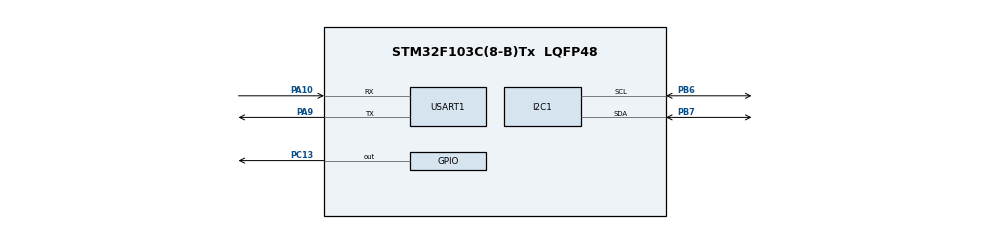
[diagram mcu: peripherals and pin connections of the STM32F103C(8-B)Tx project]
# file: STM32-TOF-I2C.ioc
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Dma.MEMTOMEM.0.Direction=DMA_MEMORY_TO_MEMORY
Dma.MEMTOMEM.0.Instance=DMA1_Channel1
Dma.MEMTOMEM.0.MemDataAlignment=DMA_MDATAALIGN_BYTE
Dma.MEMTOMEM.0.MemInc=DMA_MINC_ENABLE
Dma.MEMTOMEM.0.Mode=DMA_NORMAL
Dma.MEMTOMEM.0.PeriphDataAlignment=DMA_PDATAALIGN_BYTE
Dma.MEMTOMEM.0.PeriphInc=DMA_PINC_ENABLE
Dma.MEMTOMEM.0.Priority=DMA_PRIORITY_LOW
Dma.MEMTOMEM.1.Direction=DMA_MEMORY_TO_MEMORY
Dma.MEMTOMEM.1.Instance=DMA1_Channel2
Dma.MEMTOMEM.1.MemDataAlignment=DMA_MDATAALIGN_BYTE
Dma.MEMTOMEM.1.MemInc=DMA_MINC_ENABLE
Dma.MEMTOMEM.1.Mode=DMA_NORMAL
Dma.MEMTOMEM.1.PeriphDataAlignment=DMA_PDATAALIGN_BYTE
Dma.MEMTOMEM.1.PeriphInc=DMA_PINC_ENABLE
Dma.MEMTOMEM.1.Priority=DMA_PRIORITY_LOW
Dma.Request0=MEMTOMEM
Dma.Request1=MEMTOMEM
Mcu.Family=STM32F1
Mcu.Name=STM32F103C(8-B)Tx
Mcu.Package=LQFP48
NVIC.PriorityGroup=NVIC_PRIORITYGROUP_4
PA10.Mode=Asynchronous
PA10.Signal=USART1_RX
PA13.Mode=Serial_Wire
PA13.Signal=SYS_JTMS-SWDIO
PA14.Mode=Serial_Wire
PA14.Signal=SYS_JTCK-SWCLK
PA9.Mode=Asynchronous
PA9.Signal=USART1_TX
PB6.Mode=I2C
PB6.Signal=I2C1_SCL
PB7.Mode=I2C
PB7.Signal=I2C1_SDA
PC13-TAMPER-RTC.Signal=GPIO_Output
PD0-OSC_IN.Mode=HSE-External-Oscillator
PD0-OSC_IN.Signal=RCC_OSC_IN
PD1-OSC_OUT.Mode=HSE-External-Oscillator
PD1-OSC_OUT.Signal=RCC_OSC_OUT
ProjectManager.HeapSize=0x200
ProjectManager.StackSize=0x400
ProjectManager.TargetToolchain=STM32CubeIDE
RCC.APB1Freq_Value=8000000
RCC.APB2Freq_Value=8000000
USART1.VirtualMode=VM_ASYNC
board=custom

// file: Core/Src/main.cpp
/* USER CODE BEGIN Header */
/**
  ******************************************************************************
  * @file           : main.c
  * @brief          : Main program body
  ******************************************************************************
  * @attention
  *
  * Copyright (c) 2024 STMicroelectronics.
  * All rights reserved.
  *
  * This software is licensed under terms that can be found in the LICENSE file
  * in the root directory of this software component.
  * If no LICENSE file comes with this software, it is provided AS-IS.
  *
  ******************************************************************************
  */
/* USER CODE END Header */
#include "main.h"
#include "dma.h"
#include "i2c.h"
#include "usart.h"
#include "gpio.h"

/* USER CODE BEGIN Includes */

#include <stdio.h>

#include "sensors/tof_vl53l1x.h"

/* USER CODE END Includes */

void SystemClock_Config(void);

/* USER CODE BEGIN 0 */

void i2c_scan()
{
    uint8_t i = 0, ret;
    uint8_t Buffer[25] = {0};
    uint8_t Space[] = "  - ";
    uint8_t Newline[] = "\n";
    uint8_t StartMSG[] = "Starting I2C Scanning:\n";
    uint8_t EndMSG[] = "Done!\n\n";

    printf("I2C Scanner\n");
    /*-[ I2C Bus Scanning ]-*/
    HAL_UART_Transmit(&huart1, StartMSG, sizeof(StartMSG), 10000);
    for(i=1; i<128; i++)
    {
        ret = HAL_I2C_IsDeviceReady(&hi2c1, (uint16_t)(i<<1), 3, 5);
        if(i%8 == 0)
        {
            HAL_UART_Transmit(&huart1, Newline, sizeof(Newline), 10000);

        }
        if (ret != HAL_OK) /* No ACK Received At That Address */
        {
            HAL_UART_Transmit(&huart1, Space, sizeof(Space), 10000);
        }
        else if(ret == HAL_OK)
        {
            sprintf((char*)Buffer, "0x%X", i);
            HAL_UART_Transmit(&huart1, Buffer, sizeof(Buffer), 10000);
        }
    }
    HAL_UART_Transmit(&huart1, EndMSG, sizeof(EndMSG), 10000);
}
/* USER CODE END 0 */

int main(void)
{

  /* MCU Configuration--------------------------------------------------------*/

  /* Reset of all peripherals, Initializes the Flash interface and the Systick. */
  HAL_Init();

  /* Configure the system clock */
  SystemClock_Config();

  /* Initialize all configured peripherals */
  MX_DMA_Init();
  MX_GPIO_Init();
  MX_I2C1_Init();
  MX_USART1_UART_Init();
  /* USER CODE BEGIN 2 */
  printf("Initialized STM32!\n");

  i2c_scan();

  /* USER CODE END 2 */

  /* Infinite loop */
  /* USER CODE BEGIN WHILE */
  HAL_GPIO_WritePin(GPIOC, GPIO_PIN_13, GPIO_PIN_SET);

  SENSORS::TOF_VL53L1X tof_sensor;
  printf("Initializing sensor\n");
  tof_sensor.init();

  printf("VL53L1X Ultra Lite Driver Example running ...\n");
  tof_sensor.startRanging();

  while (1)
  {
	tof_sensor.printDistance();
    /* USER CODE END WHILE */

    /* USER CODE BEGIN 3 */
	HAL_GPIO_TogglePin(GPIOC, GPIO_PIN_13);
	HAL_Delay(20);
  }
  /* USER CODE END 3 */
}

void SystemClock_Config(void)
{
  RCC_OscInitTypeDef RCC_OscInitStruct = {0};
  RCC_ClkInitTypeDef RCC_ClkInitStruct = {0};

  /** Initializes the RCC Oscillators according to the specified parameters
  * in the RCC_OscInitTypeDef structure.
  */
  RCC_OscInitStruct.OscillatorType = RCC_OSCILLATORTYPE_HSI;
  RCC_OscInitStruct.HSIState = RCC_HSI_ON;
  RCC_OscInitStruct.HSICalibrationValue = RCC_HSICALIBRATION_DEFAULT;
  RCC_OscInitStruct.PLL.PLLState = RCC_PLL_NONE;
  if (HAL_RCC_OscConfig(&RCC_OscInitStruct) != HAL_OK)
  {
    Error_Handler();
  }

  /** Initializes the CPU, AHB and APB buses clocks
  */
  RCC_ClkInitStruct.ClockType = RCC_CLOCKTYPE_HCLK|RCC_CLOCKTYPE_SYSCLK
                              |RCC_CLOCKTYPE_PCLK1|RCC_CLOCKTYPE_PCLK2;
  RCC_ClkInitStruct.SYSCLKSource = RCC_SYSCLKSOURCE_HSI;
  RCC_ClkInitStruct.AHBCLKDivider = RCC_SYSCLK_DIV1;
  RCC_ClkInitStruct.APB1CLKDivider = RCC_HCLK_DIV1;
  RCC_ClkInitStruct.APB2CLKDivider = RCC_HCLK_DIV1;

  if (HAL_RCC_ClockConfig(&RCC_ClkInitStruct, FLASH_LATENCY_0) != HAL_OK)
  {
    Error_Handler();
  }
}

void Error_Handler(void)
{
  __disable_irq();
  while (1)
  {
  }
}
